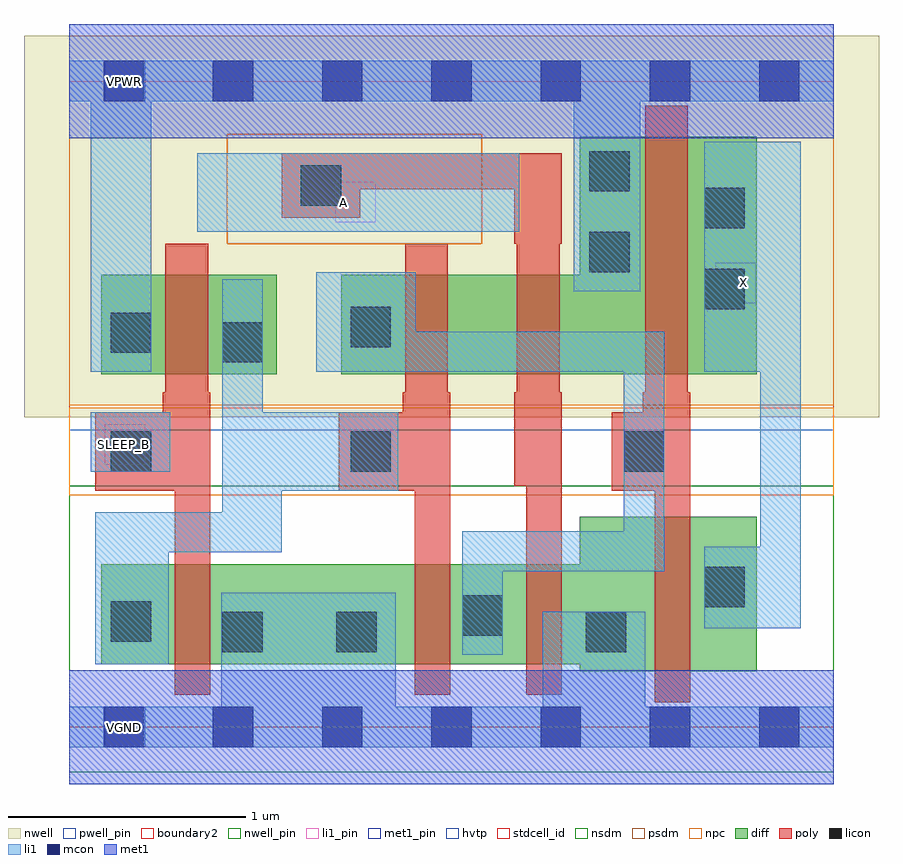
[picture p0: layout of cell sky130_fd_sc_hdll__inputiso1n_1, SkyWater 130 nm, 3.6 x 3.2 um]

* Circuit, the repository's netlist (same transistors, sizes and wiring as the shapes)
* Copyright 2020 The SkyWater PDK Authors
*
* Licensed under the Apache License, Version 2.0 (the "License");
* you may not use this file except in compliance with the License.
* You may obtain a copy of the License at
*
*     https://www.apache.org/licenses/LICENSE-2.0
*
* Unless required by applicable law or agreed to in writing, software
* distributed under the License is distributed on an "AS IS" BASIS,
* WITHOUT WARRANTIES OR CONDITIONS OF ANY KIND, either express or implied.
* See the License for the specific language governing permissions and
* limitations under the License.
*
* SPDX-License-Identifier: Apache-2.0

.SUBCKT sky130_fd_sc_hdll__inputiso1n_1 A SLEEP_B VGND VNB VPB VPWR X
*.PININFO A:I SLEEP_B:I VGND:I VNB:I VPB:I VPWR:I X:O
MI23 VPWR A sndPA VPB sky130_fd_pr__pfet_01v8_hvt m=1 w=0.42U l=0.18U mult=1 sa=0.265
+ sb=0.265 sd=0.28 area=0.063 perim=1.14
MI8 VPWR net44 X VPB sky130_fd_pr__pfet_01v8_hvt m=1 w=1.0U l=0.18U mult=1 sa=0.265
+ sb=0.265 sd=0.28 area=0.063 perim=1.14
MMIP0 net56 SLEEP_B VPWR VPB sky130_fd_pr__pfet_01v8_hvt m=1 w=0.42U l=0.18U mult=1
+ sa=0.265 sb=0.265 sd=0.28 area=0.063 perim=1.14
MI7 sndPA net56 net44 VPB sky130_fd_pr__pfet_01v8_hvt m=1 w=0.42U l=0.18U mult=1
+ sa=0.265 sb=0.265 sd=0.28 area=0.063 perim=1.14
MMIN0 net56 SLEEP_B VGND VNB sky130_fd_pr__nfet_01v8 m=1 w=0.42U l=0.15U mult=1
+ sa=0.265 sb=0.265 sd=0.28 area=0.063 perim=1.14
MI25 net44 A VGND VNB sky130_fd_pr__nfet_01v8 m=1 w=0.42U l=0.15U mult=1 sa=0.265
+ sb=0.265 sd=0.28 area=0.063 perim=1.14
MMIN2 X net44 VGND VNB sky130_fd_pr__nfet_01v8 m=1 w=0.65U l=0.15U mult=1 sa=0.265
+ sb=0.265 sd=0.28 area=0.063 perim=1.14
MI9 net44 net56 VGND VNB sky130_fd_pr__nfet_01v8 m=1 w=0.42U l=0.15U mult=1 sa=0.265
+ sb=0.265 sd=0.28 area=0.063 perim=1.14
.ENDS sky130_fd_sc_hdll__inputiso1n_1

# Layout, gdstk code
import gdstk
lib = gdstk.Library(unit=1e-6, precision=1e-09)
def R(c, l, rs):  # rectangles x0, y0, x1, y1
    for r in rs: c.add(gdstk.rectangle(r[:2], r[2:], *l))
def A(c, l, x, y, w, h, nx, ny, dx, dy):  # array of equal rectangles
    R(c, l, [(x+i*dx, y+j*dy, x+i*dx+w, y+j*dy+h) for i in range(nx) for j in range(ny)])
def P(c, l, *ps):  # polygons
    for p in ps: c.add(gdstk.Polygon(p, *l))
nwell_pin = (64, 16)
nwell = (64, 20)
diff = (65, 20)
poly = (66, 20)
licon = (66, 44)
li1_pin = (67, 16)
li1 = (67, 20)
mcon = (67, 44)
met1_pin = (68, 16)
met1 = (68, 20)
hvtp = (78, 44)
stdcell_id = (81, 4)
nsdm = (93, 44)
psdm = (94, 20)
npc = (95, 20)
pwell_pin = (122, 16)
boundary2 = (236, 0)

sky130_fd_sc_hdll__input = lib.new_cell('sky130_fd_sc_hdll__inputiso1n_1')
R(sky130_fd_sc_hdll__input, nwell_pin, [(0.15,2.635,0.32,2.805)])
R(sky130_fd_sc_hdll__input, nwell, [(-0.19,1.305,3.41,2.91)])
R(sky130_fd_sc_hdll__input, diff, [(0.135,1.485,0.875,1.905)])
P(sky130_fd_sc_hdll__input, diff, [(2.895,2.485),(2.15,2.485),(2.15,1.905),(1.145,1.905),(1.145,1.485),(2.895,1.485)],
  [(2.895,0.885),(2.15,0.885),(2.15,0.685),(0.135,0.685),(0.135,0.265),(2.15,0.265),(2.15,0.235),(2.895,0.235)])
P(sky130_fd_sc_hdll__input, poly, [(0.595,1.41),(0.585,1.41),(0.585,2.035),(0.405,2.035),(0.405,1.41),(0.395,1.41),(0.395,1.325),(0.11,1.325),(0.11,0.995),(0.445,0.995),(0.445,0.135),(0.595,0.135)],
  [(1.605,1.41),(1.595,1.41),(1.595,2.035),(1.415,2.035),(1.415,1.41),(1.405,1.41),(1.405,1.325),(1.135,1.325),(1.135,0.995),(1.455,0.995),(1.455,0.135),(1.605,0.135)],
  [(2.075,2.415),(0.895,2.415),(0.895,2.145),(1.225,2.145),(1.225,2.265),(1.875,2.265),(1.875,2.035),(1.885,2.035),(1.885,1.41),(1.875,1.41),(1.875,1.015),(1.925,1.015),(1.925,0.135),(2.075,0.135),(2.075,1.41),(2.065,1.41),(2.065,2.035),(2.075,2.035)],
  [(2.615,1.41),(2.605,1.41),(2.605,2.615),(2.425,2.615),(2.425,1.41),(2.415,1.41),(2.415,1.325),(2.285,1.325),(2.285,0.995),(2.465,0.995),(2.465,0.105),(2.615,0.105)])
R(sky130_fd_sc_hdll__input, licon, [(0.645,0.315,0.815,0.485), (1.125,0.315,1.295,0.485), (2.175,0.315,2.345,0.485), (0.175,0.36,0.345,0.53), (1.655,0.385,1.825,0.555), (2.675,0.505,2.845,0.675), (0.175,1.075,0.345,1.245), (1.185,1.075,1.355,1.245), (2.335,1.075,2.505,1.245), (0.645,1.535,0.815,1.705), (0.175,1.575,0.345,1.745), (1.185,1.6,1.355,1.77), (2.675,1.76,2.845,1.93), (2.19,1.915,2.36,2.085), (2.675,2.1,2.845,2.27), (0.975,2.195,1.145,2.365), (2.19,2.255,2.36,2.425)])
R(sky130_fd_sc_hdll__input, li1_pin, [(0.15,1.105,0.32,1.275), (2.72,1.785,2.89,1.955), (1.12,2.125,1.29,2.295)])
R(sky130_fd_sc_hdll__input, li1, [(0.09,1.075,0.425,1.325), (0.54,2.085,1.895,2.415)])
P(sky130_fd_sc_hdll__input, li1, [(3.22,0.085),(2.425,0.085),(2.425,0.485),(1.995,0.485),(1.995,0.085),(1.375,0.085),(1.375,0.565),(0.64,0.565),(0.64,0.085),(0,0.085),(0,-0.085),(3.22,-0.085)],
  [(3.22,2.805),(0,2.805),(0,2.635),(0.09,2.635),(0.09,1.495),(0.345,1.495),(0.345,2.635),(2.125,2.635),(2.125,1.835),(2.405,1.835),(2.405,2.635),(3.22,2.635)],
  [(1.385,1.325),(0.815,1.325),(0.815,1.885),(0.645,1.885),(0.645,0.905),(0.11,0.905),(0.11,0.265),(0.42,0.265),(0.42,0.735),(0.895,0.735),(0.895,0.995),(1.385,0.995)],
  [(2.505,1.665),(1.46,1.665),(1.46,1.915),(1.04,1.915),(1.04,1.495),(2.335,1.495),(2.335,0.825),(1.655,0.825),(1.655,0.305),(1.825,0.305),(1.825,0.655),(2.505,0.655)],
  [(3.08,2.465),(2.675,2.465),(2.675,1.495),(2.91,1.495),(2.91,0.76),(2.675,0.76),(2.675,0.415),(3.08,0.415)])
A(sky130_fd_sc_hdll__input, mcon, 0.145, -0.085, 0.17, 0.17, 7, 2, 0.46, 2.72)
R(sky130_fd_sc_hdll__input, met1_pin, [(0.15,-0.085,0.32,0.085), (0.15,2.635,0.32,2.805)])
R(sky130_fd_sc_hdll__input, met1, [(0,-0.24,3.22,0.24), (0,2.48,3.22,2.96)])
R(sky130_fd_sc_hdll__input, hvtp, [(0,1.25,3.22,2.72)])
R(sky130_fd_sc_hdll__input, stdcell_id, [(0,0,3.22,2.72)])
R(sky130_fd_sc_hdll__input, nsdm, [(0,-0.19,3.22,1.015)])
P(sky130_fd_sc_hdll__input, psdm, [(3.22,2.91),(1.735,2.91),(1.735,2.035),(0.665,2.035),(0.665,2.495),(1.735,2.495),(1.735,2.91),(0,2.91),(0,1.355),(3.22,1.355)])
R(sky130_fd_sc_hdll__input, npc, [(0,0.975,3.22,1.345), (0.665,2.035,1.74,2.495)])
R(sky130_fd_sc_hdll__input, pwell_pin, [(0.15,-0.085,0.32,0.085)])
R(sky130_fd_sc_hdll__input, boundary2, [(0,0,3.22,2.72)])
sky130_fd_sc_hdll__input.add(gdstk.Label('A', (1.155,2.21), layer=67, texttype=5))
sky130_fd_sc_hdll__input.add(gdstk.Label('SLEEP_B', (0.23,1.19), layer=67, texttype=5))
sky130_fd_sc_hdll__input.add(gdstk.Label('X', (2.84,1.87), layer=67, texttype=5))
sky130_fd_sc_hdll__input.add(gdstk.Label('VGND', (0.235,0), layer=68, texttype=5))
sky130_fd_sc_hdll__input.add(gdstk.Label('VPWR', (0.235,2.72), layer=68, texttype=5))
sky130_fd_sc_hdll__input.add(gdstk.Label('VNB', (0.235,0), layer=64, texttype=59))
sky130_fd_sc_hdll__input.add(gdstk.Label('VPB', (0.235,2.72), layer=64, texttype=5))
sky130_fd_sc_hdll__input.add(gdstk.Label('sky130_fd_sc_hdll__lpflow_inputiso1n_1', (0,0), layer=83, texttype=44))

lib.write_gds('sky130_fd_sc_hdll__inputiso1n_1.gds')
